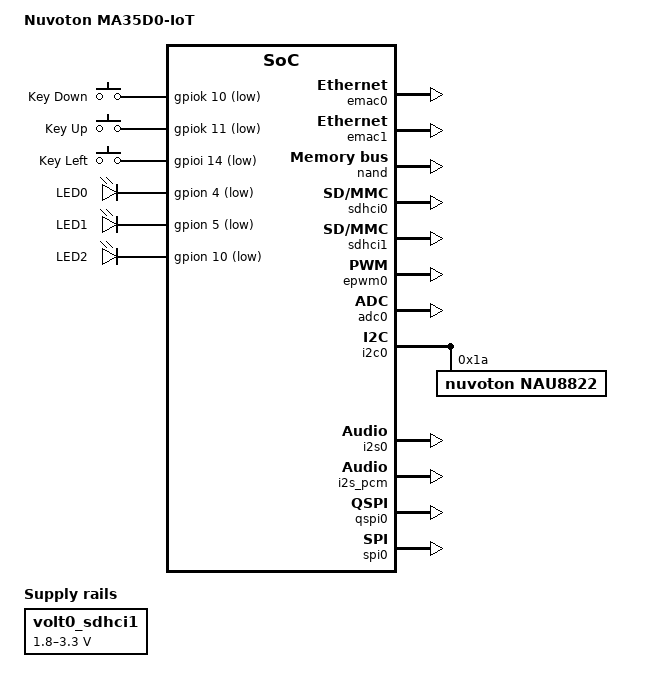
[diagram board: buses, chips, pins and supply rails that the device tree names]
/*
 * Device Tree Source for MA35D0 IoT Board
 *
 * Copyright (C) 2021 Nuvoton Technology Corp.
 *
 * The code contained herein is licensed under the GNU General Public
 * License. You may obtain a copy of the GNU General Public License
 * Version 2 or later at the following locations:
 *
 * http://www.opensource.org/licenses/gpl-license.html
 * http://www.gnu.org/copyleft/gpl.html
 */

/dts-v1/;

#include "ma35d0.dtsi"

/ {
	model = "Nuvoton MA35D0-IoT";

	aliases {
		i2c0 = &i2c0;
	};

	chosen {
		bootargs = "root=/dev/mmcblk1p1 rootfstype=ext4 rw rootwait console=ttyS0,115200n8 rdinit=/sbin/init mem=512M";
	};

	gpio_keys_test {
		compatible = "gpio-keys";
		status = "okay";
		autorepeat;
		botton0 {
			label = "Key Down";
			linux,code = <KEY_DOWN>;
			gpios = <&gpiok 10 GPIO_ACTIVE_LOW>;
			wakeup-source;
		};
		button1{
			label ="Key Up";
			linux,code = <KEY_UP>;
			gpios = <&gpiok 11 GPIO_ACTIVE_LOW>;
			wakeup-source;
		};
		botton2 {
			label = "Key Left";
			linux,code = <KEY_LEFT>;
			gpios = <&gpioi 14 GPIO_ACTIVE_LOW>;
			wakeup-source;
		};
	};

	gpio_leds_test {
		compatible = "gpio-leds";
		status = "okay";
		led0 {
			label = "LED0";
			gpios = <&gpion 4 GPIO_ACTIVE_LOW>;
		};
		led1 {
			label = "LED1";
			gpios = <&gpion 5 GPIO_ACTIVE_LOW>;
		};
		led2 {
			label = "LED2";
			gpios = <&gpion 10 GPIO_ACTIVE_LOW>;
		};
	};

	volt0_sdhci1: regulator-volt0_sdhci1 {
		compatible = "regulator-gpio";
		regulator-name = "volt1_sdhci1";
		regulator-min-microvolt = <1800000>;
		regulator-max-microvolt = <3300000>;
		gpios = <&gpion 11 GPIO_ACTIVE_HIGH>; /* PN11 */
		gpios-states = <0>;
		states = <1800000 0x1 3300000 0x0>;
		enable-active-high;
		regulator-boot-on;
	};
};

&mem {
	device_type = "memory";
	reg = <0x00000000 0x80000000 0 0x10000000>; /* DRAM space - 1, size : 256MB DRAM */
};

&emac0 {
	status = "okay";
	pinctrl-names = "default";
	pinctrl-0 = <&pinctrl_emac0>;
};

&emac1 {
	status = "okay";
	pinctrl-names = "default";
	pinctrl-0 = <&pinctrl_emac1>;
};

&ehci0 {
	pinctrl-names = "default";
	pinctrl-0 = <&pinctrl_hsusbh>;
};

&usb {
	pinctrl-names = "default";
	pinctrl-0 = <&pinctrl_usb>;
};

&nand {
	status = "okay";
	pinctrl-names = "default";
	pinctrl-0 = <&pinctrl_nand>;
};

&sdhci0 {
	status = "okay";
	pinctrl-names = "default";
	pinctrl-0 = <&pinctrl_sdhci0>;
};

&sdhci1 {
	status = "okay";
	pinctrl-names = "sdhci_3V3","sdhci_1V8";
	pinctrl-0 = <&pinctrl_sdhci1_3_3V>;
	pinctrl-1 = <&pinctrl_sdhci1_1_8V>;
	vqmmc-supply = <&volt0_sdhci1>;
	power-gpios = <&gpion 14 GPIO_ACTIVE_LOW>; /* PN14 */
};

&epwm0 {
	status = "okay";
	pinctrl-names = "default";
	pinctrl-0 = <&pinctrl_epwm0>;
};

&adc0 {
	status = "okay";
	pinctrl-names = "default";
	pinctrl-0 = <&pinctrl_adc0>;
};

&i2c0 {
	status = "okay";
	pinctrl-names = "default";
	pinctrl-0 = <&pinctrl_i2c0>;

	#address-cells = <1>;
	#size-cells = <0>;
	nau8822: nau8822@1a {
		compatible = "nuvoton,nau8822";
		reg = <0x1a> ;
		nuvoton,spk-btl;
	};
};

&uart4 {
	status = "disabled";
	pinctrl-names = "default";
	pinctrl-0 = <&pinctrl_uart4>;
};

&uart5 {
	status = "disabled";
	pinctrl-names = "default";
	pinctrl-0 = <&pinctrl_uart5>;
};

&uart6 {
	status = "disabled";
	pinctrl-names = "default";
	pinctrl-0 = <&pinctrl_uart6>;
};

&uart8 {
	status = "disabled";
	pinctrl-names = "default";
	pinctrl-0 = <&pinctrl_uart8>;
};

&uart9 {
	status = "disabled";
	pinctrl-names = "default";
	pinctrl-0 = <&pinctrl_uart9>;
};

&uart10 {
	status = "disabled";
	pinctrl-names = "default";
	pinctrl-0 = <&pinctrl_uart10>;
};

&uart12 {
	status = "disabled";
	pinctrl-names = "default";
	pinctrl-0 = <&pinctrl_uart12>;
};

&uart14 {
	status = "disabled";
	pinctrl-names = "default";
	pinctrl-0 = <&pinctrl_uart14>;
};

&uart15 {
	status = "disabled";
	pinctrl-names = "default";
	pinctrl-0 = <&pinctrl_uart15>;
};

&uart16 {
	status = "disabled";
	pinctrl-names = "default";
	pinctrl-0 = <&pinctrl_uart16>;
};

&i2s0 {
	status = "okay";
	pinctrl-names = "default";
	pinctrl-0 = <&pinctrl_i2s0>;
	powerdown-gpios = <&gpiom 6 GPIO_ACTIVE_HIGH>; /* PM6 */
};

&i2s_pcm {
	status = "okay";
};

&sound {
	status = "okay";
};

&qspi0 {
	status = "okay";
	pinctrl-names = "default";
	pinctrl-0 = <&pinctrl_qspi0>;
};

&spi0 {
	status = "okay";
	pinctrl-names = "default";
	pinctrl-0 = <&pinctrl_spi0>;
};

&can0 {
	status = "disabled";
	pinctrl-names = "default";
	pinctrl-0 = <&pinctrl_can0>;
};

&can1 {
	status = "disabled";
	pinctrl-names = "default";
	pinctrl-0 = <&pinctrl_can1>;
};

&can3 {
	status = "disabled";
	pinctrl-names = "default";
	pinctrl-0 = <&pinctrl_can3>;
};

&pinctrl {
	emac0 {
		pinctrl_emac0: emac0grp{
			nuvoton,pins =
				<SYS_GPE_MFPL_PE0MFP_RMII0_MDC		&pcfg_emac_3_3V>,
				<SYS_GPE_MFPL_PE1MFP_RMII0_MDIO		&pcfg_emac_3_3V>,
				<SYS_GPE_MFPL_PE2MFP_RMII0_TXEN		&pcfg_emac_3_3V>,
				<SYS_GPE_MFPL_PE3MFP_RMII0_TXD0		&pcfg_emac_3_3V>,
				<SYS_GPE_MFPL_PE4MFP_RMII0_TXD1		&pcfg_emac_3_3V>,
				<SYS_GPE_MFPL_PE5MFP_RMII0_REFCLK	&pcfg_emac_3_3V>,
				<SYS_GPE_MFPL_PE6MFP_RMII0_CRSDV	&pcfg_emac_3_3V>,
				<SYS_GPE_MFPL_PE7MFP_RMII0_RXD0		&pcfg_emac_3_3V>,
				<SYS_GPE_MFPH_PE8MFP_RMII0_RXD1		&pcfg_emac_3_3V>,
				<SYS_GPE_MFPH_PE9MFP_RMII0_RXERR	&pcfg_emac_3_3V>;
		};
	};

	emac1 {
		pinctrl_emac1: emac1grp{
			nuvoton,pins =
				<SYS_GPF_MFPL_PF0MFP_RMII1_MDC		&pcfg_emac_3_3V>,
				<SYS_GPF_MFPL_PF1MFP_RMII1_MDIO		&pcfg_emac_3_3V>,
				<SYS_GPF_MFPL_PF2MFP_RMII1_TXEN		&pcfg_emac_3_3V>,
				<SYS_GPF_MFPL_PF3MFP_RMII1_TXD0		&pcfg_emac_3_3V>,
				<SYS_GPF_MFPL_PF4MFP_RMII1_TXD1		&pcfg_emac_3_3V>,
				<SYS_GPF_MFPL_PF5MFP_RMII1_REFCLK	&pcfg_emac_3_3V>,
				<SYS_GPF_MFPL_PF6MFP_RMII1_CRSDV	&pcfg_emac_3_3V>,
				<SYS_GPF_MFPL_PF7MFP_RMII1_RXD0		&pcfg_emac_3_3V>,
				<SYS_GPF_MFPH_PF8MFP_RMII1_RXD1		&pcfg_emac_3_3V>,
				<SYS_GPF_MFPH_PF9MFP_RMII1_RXERR	&pcfg_emac_3_3V>;
		};
	};

	hsusbh {
		pinctrl_hsusbh: hsusbhgrp{
			nuvoton,pins =
				<SYS_GPL_MFPH_PL12MFP_HSUSBH_PWREN	&pcfg_default>,
				<SYS_GPL_MFPH_PL13MFP_HSUSBH_OVC	&pcfg_default>;
		};
	};

	adc0 {
		pinctrl_adc0: adc0grp {
			nuvoton,pins =
				<SYS_GPB_MFPH_PB10MFP_ADC0_CH2	&pcfg_default>,
				<SYS_GPB_MFPH_PB11MFP_ADC0_CH3	&pcfg_default>,
				<SYS_GPB_MFPH_PB12MFP_ADC0_CH4	&pcfg_default>,
				<SYS_GPB_MFPH_PB13MFP_ADC0_CH5	&pcfg_default>,
				<SYS_GPB_MFPH_PB14MFP_ADC0_CH6	&pcfg_default>,
				<SYS_GPB_MFPH_PB15MFP_ADC0_CH7	&pcfg_default>;
		};
	};

	epwm0 {
		pinctrl_epwm0: epwm0grp{
			nuvoton,pins =
				<SYS_GPD_MFPL_PD7MFP_EPWM0_CH1	&pcfg_default>;
		};
	};

	i2c0 {
		pinctrl_i2c0: i2c0grp{
			nuvoton,pins =
				<SYS_GPM_MFPH_PM8MFP_I2C0_SDA	&pcfg_default>,
				<SYS_GPM_MFPH_PM9MFP_I2C0_SCL	&pcfg_default>;
		};
	};

	uart4 {
		pinctrl_uart4: uart4grp{
			nuvoton,pins =
				<SYS_GPI_MFPH_PI8MFP_UART4_nCTS	&pcfg_default>,
				<SYS_GPI_MFPH_PI9MFP_UART4_nRTS	&pcfg_default>,
				<SYS_GPI_MFPH_PI10MFP_UART4_RXD	&pcfg_default>,
				<SYS_GPI_MFPH_PI11MFP_UART4_TXD	&pcfg_default>;
		};
	};

	uart5 {
		pinctrl_uart5: uart5grp{
			nuvoton,pins =
				<SYS_GPI_MFPH_PI12MFP_UART5_RXD	&pcfg_default>,
				<SYS_GPI_MFPH_PI13MFP_UART5_TXD	&pcfg_default>;
		};
	};

	uart6 {
		pinctrl_uart6: uart6grp{
			nuvoton,pins =
				<SYS_GPN_MFPH_PN12MFP_UART6_nCTS	&pcfg_default>,
				<SYS_GPN_MFPH_PN13MFP_UART6_nRTS	&pcfg_default>,
				<SYS_GPN_MFPH_PN14MFP_UART6_RXD	&pcfg_default>,
				<SYS_GPN_MFPH_PN15MFP_UART6_TXD	&pcfg_default>;
		};
	};

	uart8 {
		pinctrl_uart8: uart8grp{
			nuvoton,pins =
				<SYS_GPH_MFPL_PH0MFP_UART8_nCTS	&pcfg_default>,
				<SYS_GPH_MFPL_PH1MFP_UART8_nRTS	&pcfg_default>,
				<SYS_GPH_MFPL_PH2MFP_UART8_RXD	&pcfg_default>,
				<SYS_GPH_MFPL_PH3MFP_UART8_TXD	&pcfg_default>;
		};
	};

	uart9 {
		pinctrl_uart9: uart9grp{
			nuvoton,pins =
				<SYS_GPH_MFPL_PH4MFP_UART9_RXD	&pcfg_default>,
				<SYS_GPH_MFPL_PH5MFP_UART9_TXD	&pcfg_default>;
		};
	};

	uart10 {
		pinctrl_uart10: uart10grp{
			nuvoton,pins =
				<SYS_GPH_MFPL_PH6MFP_UART10_RXD	&pcfg_default>,
				<SYS_GPH_MFPL_PH7MFP_UART10_TXD	&pcfg_default>;
		};
	};

	uart12 {
		pinctrl_uart12: uart12grp{
			nuvoton,pins =
				<SYS_GPG_MFPH_PG8MFP_UART12_RXD	&pcfg_default>,
				<SYS_GPG_MFPH_PG9MFP_UART12_TXD	&pcfg_default>,
				<SYS_GPG_MFPH_PG10MFP_UART12_nRTS	&pcfg_default>,
				<SYS_GPK_MFPL_PK4MFP_UART12_nCTS	&pcfg_default>;
		};
	};

	uart14 {
		pinctrl_uart14: uart14grp{
			nuvoton,pins =
				<SYS_GPH_MFPH_PH12MFP_UART14_nCTS	&pcfg_default>,
				<SYS_GPH_MFPH_PH13MFP_UART14_nRTS	&pcfg_default>,
				<SYS_GPH_MFPH_PH14MFP_UART14_RXD	&pcfg_default>,
				<SYS_GPH_MFPH_PH15MFP_UART14_TXD	&pcfg_default>;
		};
	};

	uart15 {
		pinctrl_uart15: uart15grp{
			nuvoton,pins =
				<SYS_GPE_MFPH_PE10MFP_UART15_nCTS	&pcfg_default>,
				<SYS_GPE_MFPH_PE11MFP_UART15_nRTS	&pcfg_default>,
				<SYS_GPE_MFPH_PE12MFP_UART15_RXD	&pcfg_default>,
				<SYS_GPE_MFPH_PE13MFP_UART15_TXD	&pcfg_default>;
		};
	};

	uart16 {
		pinctrl_uart16: uart16grp{
			nuvoton,pins =
				<SYS_GPD_MFPH_PD8MFP_UART16_nCTS	&pcfg_default>,
				<SYS_GPD_MFPH_PD9MFP_UART16_nRTS	&pcfg_default>,
				<SYS_GPD_MFPH_PD10MFP_UART16_RXD	&pcfg_default>,
				<SYS_GPD_MFPH_PD11MFP_UART16_TXD	&pcfg_default>;
		};
	};

	i2s0 {
		pinctrl_i2s0: i2s0grp{
			nuvoton,pins =
				<SYS_GPG_MFPH_PG11MFP_I2S0_MCLK	&pcfg_default>,
				<SYS_GPG_MFPH_PG12MFP_I2S0_LRCK	&pcfg_default>,
				<SYS_GPG_MFPH_PG13MFP_I2S0_BCLK	&pcfg_default>,
				<SYS_GPG_MFPH_PG14MFP_I2S0_DI	&pcfg_default>,
				<SYS_GPG_MFPH_PG15MFP_I2S0_DO	&pcfg_default>;
		};
	};

	qspi0 {
		pinctrl_qspi0: qspi0grp{
			nuvoton,pins =
				<SYS_GPD_MFPL_PD0MFP_QSPI0_SS0		&pcfg_default>,
				<SYS_GPD_MFPL_PD1MFP_QSPI0_CLK		&pcfg_default>,
				<SYS_GPD_MFPL_PD2MFP_QSPI0_MOSI0	&pcfg_default>,
				<SYS_GPD_MFPL_PD3MFP_QSPI0_MISO0	&pcfg_default>,
				<SYS_GPD_MFPL_PD4MFP_QSPI0_MOSI1	&pcfg_default>,
				<SYS_GPD_MFPL_PD5MFP_QSPI0_MISO1	&pcfg_default>;
		};
	};

	spi0 {
		pinctrl_spi0: spi0grp{
			nuvoton,pins =
				<SYS_GPG_MFPL_PG0MFP_SPI0_SS0    &pcfg_default>,
				<SYS_GPB_MFPH_PB8MFP_SPI0_SS1    &pcfg_default>,
				<SYS_GPB_MFPH_PB9MFP_SPI0_CLK    &pcfg_default>,
				<SYS_GPL_MFPH_PL14MFP_SPI0_MOSI    &pcfg_default>,
				<SYS_GPL_MFPH_PL15MFP_SPI0_MISO    &pcfg_default>;
		};
	};

	can0 {
		pinctrl_can0: can0grp{
			nuvoton,pins =
				<SYS_GPN_MFPL_PN2MFP_CAN0_RXD	&pcfg_default>,
				<SYS_GPN_MFPL_PN3MFP_CAN0_TXD	&pcfg_default>;
		};
	};

	can1 {
		pinctrl_can1: can1grp{
			nuvoton,pins =
				<SYS_GPN_MFPL_PN6MFP_CAN1_RXD	&pcfg_default>,
				<SYS_GPN_MFPL_PN7MFP_CAN1_TXD	&pcfg_default>;
		};
	};

	can3 {
		pinctrl_can3: can3grp{
			nuvoton,pins =
				<SYS_GPM_MFPL_PM2MFP_CAN3_RXD	&pcfg_default>,
				<SYS_GPM_MFPL_PM3MFP_CAN3_TXD	&pcfg_default>;
		};
	};

	usb {
		pinctrl_usb: usbgrp{
			nuvoton,pins =
				<SYS_GPF_MFPH_PF15MFP_HSUSB0_VBUSVLD	&pcfg_default>;
		};
	};

	nand {
		pinctrl_nand: nandgrp{
			nuvoton,pins =
				<SYS_GPA_MFPL_PA0MFP_NAND_DATA0	&pcfg_default>,
				<SYS_GPA_MFPL_PA1MFP_NAND_DATA1	&pcfg_default>,
				<SYS_GPA_MFPL_PA2MFP_NAND_DATA2	&pcfg_default>,
				<SYS_GPA_MFPL_PA3MFP_NAND_DATA3	&pcfg_default>,
				<SYS_GPA_MFPL_PA4MFP_NAND_DATA4	&pcfg_default>,
				<SYS_GPA_MFPL_PA5MFP_NAND_DATA5	&pcfg_default>,
				<SYS_GPA_MFPL_PA6MFP_NAND_DATA6	&pcfg_default>,
				<SYS_GPA_MFPL_PA7MFP_NAND_DATA7	&pcfg_default>,
				<SYS_GPA_MFPH_PA8MFP_NAND_RDY	&pcfg_default>,
				<SYS_GPA_MFPH_PA9MFP_NAND_nRE	&pcfg_default>,
				<SYS_GPA_MFPH_PA10MFP_NAND_nWE	&pcfg_default>,
				<SYS_GPA_MFPH_PA11MFP_NAND_CLE	&pcfg_default>,
				<SYS_GPA_MFPH_PA12MFP_NAND_ALE	&pcfg_default>,
				<SYS_GPA_MFPH_PA13MFP_NAND_nCS	&pcfg_default>,
				<SYS_GPA_MFPH_PA14MFP_NAND_nWP	&pcfg_default>;
		};
	};

	sdhci0 {
		pinctrl_sdhci0: sdhci0grp{
			nuvoton,pins =
				<SYS_GPC_MFPL_PC0MFP_eMMC0_CMD	&pcfg_sdhci_drive2_3_3V>,
				<SYS_GPC_MFPL_PC1MFP_eMMC0_CLK	&pcfg_sdhci_drive2_3_3V>,
				<SYS_GPC_MFPL_PC2MFP_eMMC0_DAT0	&pcfg_sdhci_drive2_3_3V>,
				<SYS_GPC_MFPL_PC3MFP_eMMC0_DAT1	&pcfg_sdhci_drive2_3_3V>,
				<SYS_GPC_MFPL_PC4MFP_eMMC0_DAT2	&pcfg_sdhci_drive2_3_3V>,
				<SYS_GPC_MFPL_PC5MFP_eMMC0_DAT3	&pcfg_sdhci_drive2_3_3V>,
				<SYS_GPC_MFPL_PC6MFP_SD0_nCD	&pcfg_default>,
				<SYS_GPC_MFPL_PC7MFP_SD0_WP	&pcfg_default>;
		};
	};

	sdhci1 {
		pinctrl_sdhci1_3_3V: sdhci1_3_3Vgrp{
			nuvoton,pins =
				<SYS_GPJ_MFPL_PJ5MFP_SD1_nCD	&pcfg_default>,
				<SYS_GPJ_MFPL_PJ6MFP_SD1_CMD	&pcfg_sdhci_drive2_3_3V>,
				<SYS_GPJ_MFPL_PJ7MFP_SD1_CLK	&pcfg_sdhci_drive2_3_3V>,
				<SYS_GPJ_MFPH_PJ8MFP_SD1_DAT0	&pcfg_sdhci_drive2_3_3V>,
				<SYS_GPJ_MFPH_PJ9MFP_SD1_DAT1	&pcfg_sdhci_drive2_3_3V>,
				<SYS_GPJ_MFPH_PJ10MFP_SD1_DAT2	&pcfg_sdhci_drive2_3_3V>,
				<SYS_GPJ_MFPH_PJ11MFP_SD1_DAT3	&pcfg_sdhci_drive2_3_3V>;
		};

		pinctrl_sdhci1_1_8V: sdhci1_1_8Vgrp{
			nuvoton,pins =
				<SYS_GPJ_MFPL_PJ5MFP_SD1_nCD	&pcfg_default>,
				<SYS_GPJ_MFPL_PJ6MFP_SD1_CMD	&pcfg_sdhci_drive4_1_8V>,
				<SYS_GPJ_MFPL_PJ7MFP_SD1_CLK	&pcfg_sdhci_drive7_1_8V>,
				<SYS_GPJ_MFPH_PJ8MFP_SD1_DAT0	&pcfg_sdhci_drive1_1_8V>,
				<SYS_GPJ_MFPH_PJ9MFP_SD1_DAT1	&pcfg_sdhci_drive1_1_8V>,
				<SYS_GPJ_MFPH_PJ10MFP_SD1_DAT2	&pcfg_sdhci_drive1_1_8V>,
				<SYS_GPJ_MFPH_PJ11MFP_SD1_DAT3	&pcfg_sdhci_drive1_1_8V>;
		};
	};
};
